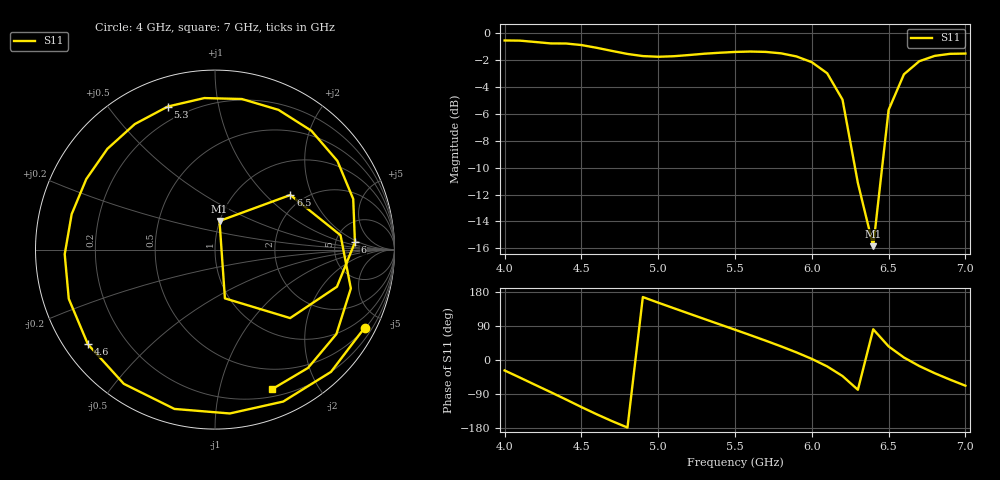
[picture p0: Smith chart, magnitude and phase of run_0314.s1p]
! Touchstone file exported from HFSS 2024.2.0
!  File:  C:/Users/wsak9/Desktop/Sim Fast/Widenad Patch/WP_AI_V1_sweep.aedt
!  Generated:  04:17:55 AM Oct 14, 2026
!  Design:  A1_model
!  Project:  WP_AI_V1_sweep
!  Setup:  Setup1
!  Solution:  Sweep
! Variables:
!  Air_gap = 3.27mm
!  Curve_Amp1 = 1.24
!  Curve_len1 = 1
!  Curve_pos = 9.885mm
!  Extra = 5.45mm
!  H_sub = 0.79mm
!  L_Patch = 15.77mm
!  L_Patch1 = 17.91mm
!  Sx = 2.67mm
!  Sy = 3.11mm
!  WS = 0.98mm
!  W_Patch = 22.14mm
!  W_Patch1 = 12.46mm
!Data is not renormalized
# GHz S MA
! Terminal data exported
! Port[1] = 1
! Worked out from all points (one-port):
!   31 points, 4 GHz to 7 GHz, reference per port
!   lowest |S11| = -15.8 dB at 6.4 GHz (marker M1), VSWR 1.39
!   |S11| at or under -10 dB: 6.282 GHz to 6.458 GHz (176 MHz wide, 2.76 % of centre)
!   S11 on the Smith chart (normalised r, x): 4 GHz: 0.53, -4.01; 4.6 GHz: 0.07, -0.33; 5.3 GHz: 0.13, +0.71; 6 GHz: 7.78, +1.61; 6.5 GHz: 1.70, +1.42; 7 GHz: 0.27, -1.45
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4  0.9403 -27.6
4.1  0.9389 -46.5
4.2  0.9281 -65.8
4.3  0.9167 -84.8
4.4  0.916 -104.3
4.5  0.9041 -124.2
4.6  0.883 -143.3
4.7  0.8596 -161.4
4.8  0.8377 -178.2
5  0.8178 151.3
5.2  0.8299 122.6
5.3  0.8394 108.3
5.5  0.8523 79.9
5.6  0.8551 65.6
5.7  0.8525 51.0
5.8  0.8421 35.9
5.9  0.8201 20.1
6  0.7807 3.0
6.1  0.7102 -16.9
6.2  0.5664 -42.3
6.3  0.2774 -78.5
6.4  0.1615 81.0
6.5  0.5185 35.9
6.6  0.704 6.5
6.7  0.7872 -16.0
6.8  0.824 -34.8
6.9  0.8386 -51.8
7  0.8404 -67.8
